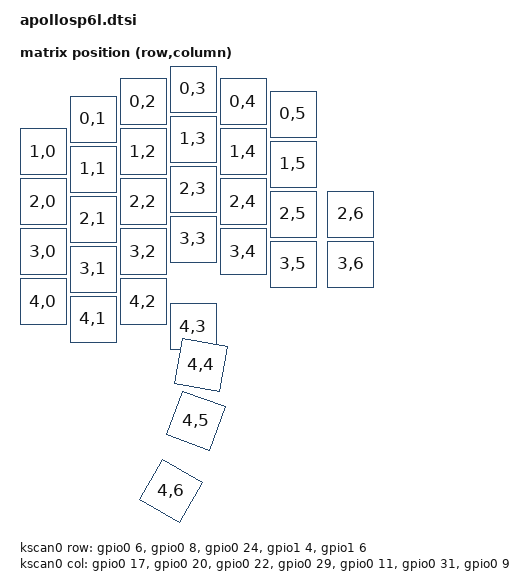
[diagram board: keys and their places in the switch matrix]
#include <dt-bindings/zmk/matrix_transform.h>
#include <physical_layouts.dtsi>
#include <dt-bindings/zmk/mouse.h>

/ {
    chosen {
        zmk,kscan = &kscan0;
        zmk,physical-layout = &physical_layout0;
    };

    vbatt: vbatt {
        compatible = "zmk,battery-nrf-vddh";
    };

    physical_layout0: physical_layout0 {
        compatible = "zmk,physical-layout";
        display-name = "Default Layout";
        transform = <&default_transform>;
        keys = <&key_physical_attrs 100 100 100 35 0 0 0>    // [0,1]
             , <&key_physical_attrs 100 100 200 0 0 0 0>     // [0,2]
             , <&key_physical_attrs 100 100 300 (-25) 0 0 0> // [0,3]
             , <&key_physical_attrs 100 100 400 0 0 0 0>     // [0,4]
             , <&key_physical_attrs 100 100 500 25 0 0 0>    // [0,5]
             /* Row 1 */
             , <&key_physical_attrs 100 100 0 100 0 0 0>
             , <&key_physical_attrs 100 100 100 135 0 0 0>
             , <&key_physical_attrs 100 100 200 100 0 0 0>
             , <&key_physical_attrs 100 100 300 75 0 0 0>
             , <&key_physical_attrs 100 100 400 100 0 0 0>
             , <&key_physical_attrs 100 100 500 125 0 0 0>
             /* Row 2 */
             , <&key_physical_attrs 100 100 0 200 0 0 0>
             , <&key_physical_attrs 100 100 100 235 0 0 0>
             , <&key_physical_attrs 100 100 200 200 0 0 0>
             , <&key_physical_attrs 100 100 300 175 0 0 0>
             , <&key_physical_attrs 100 100 400 200 0 0 0>
             , <&key_physical_attrs 100 100 500 225 0 0 0>
             , <&key_physical_attrs 100 100 615 225 0 0 0>
             /* Row 3 */
             , <&key_physical_attrs 100 100 0 300 0 0 0>
             , <&key_physical_attrs 100 100 100 335 0 0 0>
             , <&key_physical_attrs 100 100 200 300 0 0 0>
             , <&key_physical_attrs 100 100 300 275 0 0 0>
             , <&key_physical_attrs 100 100 400 300 0 0 0>
             , <&key_physical_attrs 100 100 500 325 0 0 0>
             , <&key_physical_attrs 100 100 615 325 0 0 0>
             /* Row 4: 親指 */
             /* 幅 高 X座標 Y座標 回転角 ラベルX ラベルY */
             , <&key_physical_attrs 100 100 0 400 0 0 0>
             , <&key_physical_attrs 100 100 100 435 0 0 0>
             , <&key_physical_attrs 100 100 200 400 0 0 0>
             , <&key_physical_attrs 100 100 300 450 (0) 0 0>
             , <&key_physical_attrs 100 100 410 455 (1000) 0 0>
             , <&key_physical_attrs 100 100 520 475 (2000) 0 0>
             , <&key_physical_attrs 100 100 630 515 (3000) 0 0>;
    };

    default_transform: keymap_transform0 {
        compatible = "zmk,matrix-transform";
        columns = <7>;
        rows = <5>;
        map = <
                    RC(0,1) RC(0,2) RC(0,3) RC(0,4) RC(0,5)
            RC(1,0) RC(1,1) RC(1,2) RC(1,3) RC(1,4) RC(1,5)
            RC(2,0) RC(2,1) RC(2,2) RC(2,3) RC(2,4) RC(2,5) RC(2,6)
            RC(3,0) RC(3,1) RC(3,2) RC(3,3) RC(3,4) RC(3,5) RC(3,6)
            RC(4,0) RC(4,1) RC(4,2) RC(4,3) RC(4,4) RC(4,5) RC(4,6)
        >;
    };

    kscan0: kscan {
        compatible = "zmk,kscan-gpio-matrix";
        wakeup-source;
        diode-direction = "col2row";
        row-gpios
           = <&gpio0 6  (GPIO_ACTIVE_LOW | GPIO_PULL_UP)> // Row 0
           , <&gpio0 8  (GPIO_ACTIVE_LOW | GPIO_PULL_UP)> // Row 1
           , <&gpio0 24 (GPIO_ACTIVE_LOW | GPIO_PULL_UP)> // Row 2
           , <&gpio1 4  (GPIO_ACTIVE_LOW | GPIO_PULL_UP)> // Row 3
           , <&gpio1 6  (GPIO_ACTIVE_LOW | GPIO_PULL_UP)>; // Row 4
        col-gpios
           = <&gpio0 17 GPIO_ACTIVE_LOW> // Col 0
           , <&gpio0 20 GPIO_ACTIVE_LOW> // Col 1
           , <&gpio0 22 GPIO_ACTIVE_LOW> // Col 2
           , <&gpio0 29 GPIO_ACTIVE_LOW> // Col 3
           , <&gpio0 11 GPIO_ACTIVE_LOW> // Col 4
           , <&gpio0 31 GPIO_ACTIVE_LOW> // Col 5
           , <&gpio0 9  GPIO_ACTIVE_LOW>; // Col 6
        };
};
